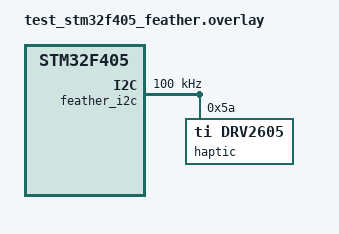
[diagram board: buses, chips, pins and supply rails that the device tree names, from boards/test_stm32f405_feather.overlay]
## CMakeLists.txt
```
# SPDX-License-Identifier: Apache-2.0

cmake_minimum_required(VERSION 3.20.0)

find_package(Zephyr REQUIRED HINTS $ENV{ZEPHYR_BASE})
project(test_i2c)

FILE(GLOB app_sources src/*.c)
target_sources(app PRIVATE ${app_sources})
```

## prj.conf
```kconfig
CONFIG_HAPTICS=y
CONFIG_GPIO=y
```

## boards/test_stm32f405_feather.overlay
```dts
/*
 * Copyright (c) 2025 Lucian Copeland for Adafruit Industries
 *
 * SPDX-License-Identifier: Apache-2.0
 */

#include <zephyr/dt-bindings/i2c/i2c.h>

&feather_i2c {
	status = "okay";
	clock-frequency = <I2C_BITRATE_STANDARD>;

	haptic: drv2605@5a {
		compatible = "ti,drv2605";
		reg = <0x5a>;
		status = "okay";

		actuator-mode = "LRA";
		loop-gain = "HIGH";
		feedback-brake-factor = "2X";
	};
};
```

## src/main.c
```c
/*
 * Copyright (c) 2024 Cirrus Logic, Inc.
 * Copyright (c) 2024 Lucian Copeland for Adafruit Industries
 *
 * SPDX-License-Identifier: Apache-2.0
 */

#include <errno.h>
#include <stdio.h>

#include <zephyr/device.h>
#include <zephyr/devicetree.h>
#include <zephyr/kernel.h>
#include <zephyr/drivers/haptics.h>
#include <zephyr/drivers/haptics/drv2605.h>
#include <zephyr/sys/util.h>
#include <sys/_stdint.h>
#include <zephyr/drivers/gpio.h>

// /* add blinky features */
// #define SLEEP_TIME_MS   1000
// #define LED0_NODE DT_ALIAS(led0)
// static const struct gpio_dt_spec led = GPIO_DT_SPEC_GET(LED0_NODE, gpios);

static struct drv2605_rom_data rom_data = {
	.library = DRV2605_LIBRARY_LRA,
	.brake_time = 0,
	.overdrive_time = 0,
	.sustain_neg_time = 0,
	.sustain_pos_time = 0,
	.trigger = DRV2605_MODE_INTERNAL_TRIGGER,
	.seq_regs[0] = 1,
	.seq_regs[1] = 10 | 0x80,
	.seq_regs[2] = 2,
	.seq_regs[3] = 10 | 0x80,
	.seq_regs[4] = 3,
	.seq_regs[5] = 10 | 0x80,
	.seq_regs[6] = 4,
};

int main(void)
{
	/* Configure haptic device and send a pre-made effect */
	const struct device *dev = DEVICE_DT_GET(DT_NODELABEL(haptic));
	union drv2605_config_data config_data = {};
	int ret;

	if (!dev) {
		return 0;
	}
	if (!device_is_ready(dev)) {
		return 0;
	}
	config_data.rom_data = &rom_data;
	ret = drv2605_haptic_config(dev, DRV2605_HAPTICS_SOURCE_ROM, &config_data);
	if (ret < 0) {
		return 0;
	}
	ret = haptics_start_output(dev);
	if (ret < 0) {
		return 0;
	}

	/* blinky loop to confirm micro is running, in case of hardware failure */

	// bool led_state = true;
	// if (!gpio_is_ready_dt(&led)) {
	// 	return 0;
	// }
	// ret = gpio_pin_configure_dt(&led, GPIO_OUTPUT_ACTIVE);
	// if (ret < 0) {
	// 	return 0;
	// }
	// while (1) {
	// 	ret = gpio_pin_toggle_dt(&led);
	// 	if (ret < 0) {
	// 		return 0;
	// 	}

	// 	led_state = !led_state;
	// 	printf("LED state: %s\n", led_state ? "ON" : "OFF");
	// 	k_msleep(SLEEP_TIME_MS);
	// }
	// return 0;
}
```
